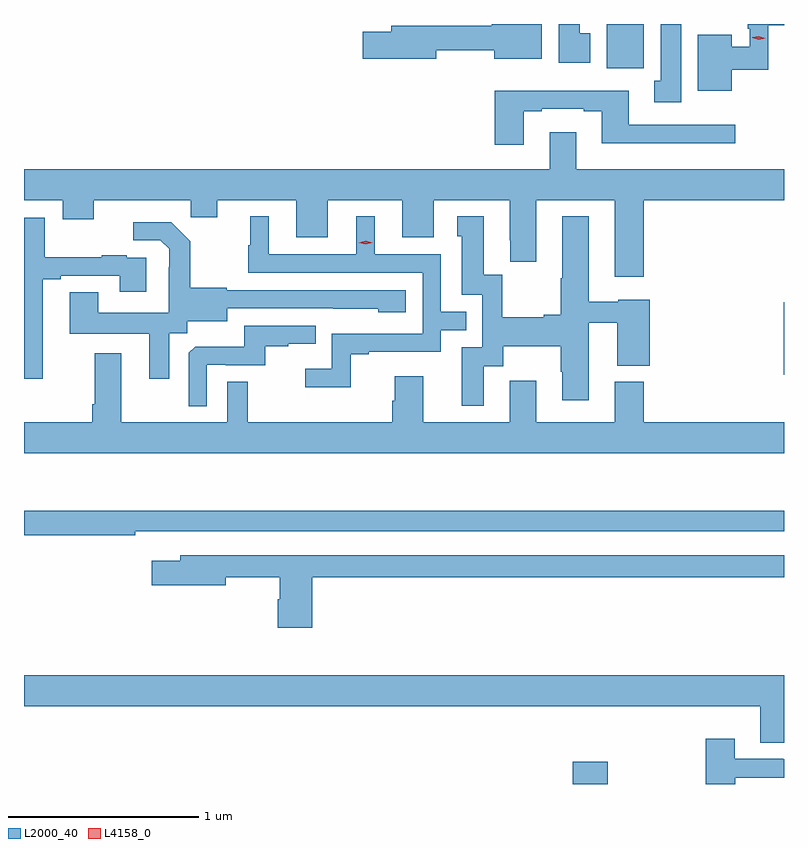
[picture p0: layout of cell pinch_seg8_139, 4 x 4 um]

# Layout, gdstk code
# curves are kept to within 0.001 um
import gdstk
lib = gdstk.Library(unit=1e-6, precision=1e-09)
def R(c, l, rs):  # rectangles x0, y0, x1, y1
    for r in rs: c.add(gdstk.rectangle(r[:2], r[2:], *l))
def P(c, l, *ps):  # polygons
    for p in ps: c.add(gdstk.Polygon(p, *l))
L2000_40 = (2000, 40)
L4158_0 = (4158, 0)

pinch_seg8_139 = lib.new_cell('pinch_seg8_139')
R(pinch_seg8_139, L2000_40, [(771.17,1148.06,771.353,1148.176), (772.28,1150.215,772.281,1150.596), (771.347,1151.828,771.544,1152.06)])
P(pinch_seg8_139, L2000_40, [(770.452,1151.923),(770.756,1151.923),(770.756,1151.876),(771.007,1151.876),(771.007,1152.06),(770.744,1152.06),(770.744,1152.052),(770.213,1152.052),(770.213,1152.018),(770.064,1152.018),(770.064,1151.876),(770.452,1151.876)],
  [(771.739,1152.06),(771.632,1152.06),(771.632,1151.762),(771.599,1151.762),(771.599,1151.649),(771.739,1151.649)],
  [(772.006,1151.82),(772.197,1151.82),(772.197,1152.054),(772.281,1152.054),(772.281,1152.06),(772.089,1152.06),(772.089,1152.036),(772.101,1152.036),(772.101,1151.941),(772.006,1151.941),(772.006,1152.004),(771.827,1152.004),(771.827,1151.708),(772.006,1151.708)],
  [(771.262,1152.012),(771.205,1152.012),(771.205,1152.06),(771.095,1152.06),(771.095,1151.856),(771.262,1151.856)],
  [(770.911,1151.601),(771.007,1151.601),(771.007,1151.613),(771.227,1151.613),(771.227,1151.601),(771.323,1151.601),(771.323,1151.432),(772.024,1151.432),(772.024,1151.529),(771.463,1151.529),(771.463,1151.71),(770.759,1151.71),(770.759,1151.424),(770.911,1151.424)],
  [(771.542,1151.132),(772.281,1151.132),(772.281,1151.296),(771.187,1151.296),(771.187,1151.491),(771.047,1151.491),(771.047,1151.296),(768.281,1151.296),(768.281,1151.132),(768.485,1151.132),(768.485,1151.033),(768.649,1151.033),(768.649,1151.132),(769.159,1151.132),(769.159,1151.042),(769.297,1151.042),(769.297,1151.132),(769.715,1151.132),(769.715,1150.938),(769.879,1150.938),(769.879,1151.132),(770.273,1151.132),(770.273,1150.938),(770.437,1150.938),(770.437,1151.132),(770.837,1151.132),(770.837,1150.921),(770.84,1150.921),(770.84,1150.809),(770.977,1150.809),(770.977,1151.132),(771.389,1151.132),(771.389,1150.731),(771.542,1150.731)],
  [(770.001,1150.323),(770.095,1150.323),(770.095,1150.335),(770.475,1150.335),(770.475,1150.449),(770.609,1150.449),(770.609,1150.545),(770.475,1150.545),(770.475,1150.848),(770.128,1150.848),(770.128,1151.047),(770.03,1151.047),(770.03,1150.848),(769.57,1150.848),(769.57,1151.047),(769.472,1151.047),(769.472,1150.896),(769.461,1150.896),(769.461,1150.752),(770.379,1150.752),(770.379,1150.431),(769.902,1150.431),(769.902,1150.246),(769.761,1150.246),(769.761,1150.148),(770.001,1150.148)],
  [(770.701,1150.258),(770.803,1150.258),(770.803,1150.364),(771.106,1150.364),(771.106,1150.23),(771.113,1150.23),(771.113,1150.08),(771.253,1150.08),(771.253,1150.488),(771.404,1150.488),(771.404,1150.262),(771.575,1150.262),(771.575,1150.609),(771.408,1150.609),(771.408,1150.597),(771.253,1150.597),(771.253,1151.047),(771.113,1151.047),(771.113,1150.721),(771.106,1150.721),(771.106,1150.529),(771.017,1150.529),(771.017,1150.516),(770.799,1150.516),(770.799,1150.739),(770.701,1150.739),(770.701,1151.047),(770.561,1151.047),(770.561,1150.944),(770.585,1150.944),(770.585,1150.635),(770.694,1150.635),(770.694,1150.359),(770.585,1150.359),(770.585,1150.05),(770.701,1150.05)],
  [(768.379,1150.716),(768.475,1150.716),(768.475,1150.734),(768.785,1150.734),(768.785,1150.65),(768.925,1150.65),(768.925,1150.83),(768.821,1150.83),(768.821,1150.843),(768.689,1150.843),(768.689,1150.832),(768.391,1150.832),(768.391,1151.04),(768.281,1151.04),(768.281,1150.847),(768.282,1150.847),(768.282,1150.342),(768.281,1150.342),(768.281,1150.194),(768.379,1150.194)],
  [(769.045,1150.432),(769.14,1150.432),(769.14,1150.496),(769.351,1150.496),(769.351,1150.563),(770.145,1150.562),(770.145,1150.544),(770.29,1150.544),(770.29,1150.659),(769.347,1150.659),(769.347,1150.672),(769.155,1150.672),(769.155,1150.917),(769.055,1151.017),(768.855,1151.017),(768.855,1150.923),(768.999,1150.923),(769.046,1150.876),(769.046,1150.781),(769.044,1150.781),(769.044,1150.54),(768.673,1150.54),(768.673,1150.649),(768.521,1150.649),(768.521,1150.43),(768.941,1150.43),(768.941,1150.194),(769.045,1150.194)],
  [(769.242,1150.266),(769.342,1150.266),(769.342,1150.263),(769.55,1150.263),(769.55,1150.365),(769.673,1150.365),(769.673,1150.376),(769.817,1150.376),(769.817,1150.473),(769.44,1150.473),(769.44,1150.361),(769.181,1150.361),(769.149,1150.329),(769.149,1150.049),(769.242,1150.049)],
  [(772.281,1149.964),(771.542,1149.964),(771.542,1150.177),(771.389,1150.177),(771.389,1149.964),(770.977,1149.964),(770.977,1150.183),(770.837,1150.183),(770.837,1149.964),(770.383,1149.964),(770.383,1150.207),(770.231,1150.207),(770.231,1150.077),(770.219,1150.077),(770.219,1149.964),(769.459,1149.964),(769.459,1150.178),(769.35,1150.178),(769.35,1149.964),(768.793,1149.964),(768.793,1150.327),(768.653,1150.327),(768.653,1150.06),(768.641,1150.06),(768.641,1149.964),(768.281,1149.964),(768.281,1149.8),(772.281,1149.8)],
  [(768.866,1149.39),(772.281,1149.39),(772.281,1149.499),(768.281,1149.499),(768.281,1149.37),(768.866,1149.37)],
  [(769.799,1149.148),(772.281,1149.148),(772.281,1149.264),(769.103,1149.264),(769.103,1149.235),(768.954,1149.235),(768.954,1149.106),(769.342,1149.106),(769.342,1149.148),(769.628,1149.148),(769.628,1149.033),(769.616,1149.033),(769.616,1148.883),(769.799,1148.883)],
  [(772.281,1148.632),(768.281,1148.632),(768.281,1148.468),(772.157,1148.468),(772.157,1148.278),(772.281,1148.278)],
  [(772.024,1148.094),(772.281,1148.094),(772.281,1148.19),(772.277,1148.19),(772.277,1148.193),(772.021,1148.193),(772.021,1148.299),(771.869,1148.299),(771.869,1148.06),(772.024,1148.06)])
P(pinch_seg8_139, L4158_0, [(772.148,1151.976),(772.113,1151.988),(772.113,1151.988),(772.113,1151.989),(772.149,1151.996),(772.183,1151.984),(772.183,1151.984),(772.183,1151.984)],
  [(770.079,1150.9),(770.043,1150.91),(770.043,1150.91),(770.043,1150.91),(770.079,1150.92),(770.114,1150.91),(770.115,1150.91),(770.114,1150.91)])

lib.write_gds('pinch_seg8_139.gds')
